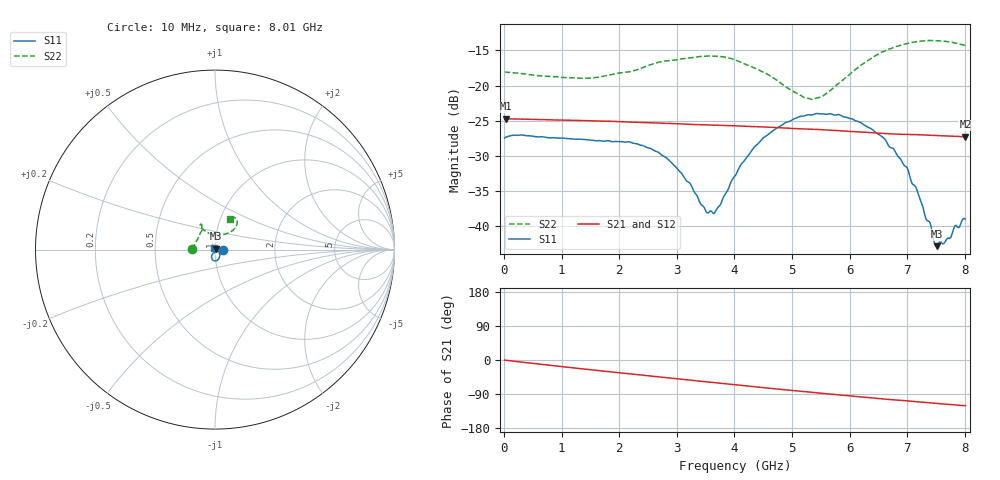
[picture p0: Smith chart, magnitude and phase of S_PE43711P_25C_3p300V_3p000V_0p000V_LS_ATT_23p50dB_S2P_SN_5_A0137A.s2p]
! Device ID: PE43711P
! File Path: z:\PE43711P\CHAR_NOM_04282014\AMB\3p300\LS_ATT_23p50dB\PE43711P_AMB_3p300V_3p000V_0p000V_LS_ATT_23p50dB_S2P_SN_5_A0137A.s2p
! Serial: 5
! Lot: A0137A
! Temp: 25C
! VDD: 3.300
! VSS: 0.000
! Control_Hi: 3.000
! Control_Lo: 0.000
! Attenuation Step: 23.50dB
! Port 1: RF1
! Port 2: RF2
! ThroughPath:1-2
! IDD: 0.0001278034
! ISS: -1.918e-007
#  Hz  S  RI  R  50
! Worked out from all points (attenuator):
!   801 points, 10 MHz to 8.01 GHz, reference 50 ohm
!   highest |S21| = -24.72 dB at 30 MHz (marker M1); lowest = -27.3 dB at 8.01 GHz (marker M2)
!   lowest |S11| = -42.8 dB at 7.51 GHz (marker M3), VSWR 1.01, Z = 50.6 + j0.45 ohm
!   |S11| at or under -10 dB: start of sweep to end of sweep
!   |S22| runs from -22.0 to -13.6 dB; largest |S21 - S12| = 0.00013
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1e7  0.0425 0.000304  0.0581 -0.000245  0.0582 -0.00024  -0.1254 0.000946
3e7  0.043 0.000348  0.0581 -0.000566  0.0581 -0.000567  -0.1248 0.00203
1.35e9  0.0403 -0.00998  0.0519 -0.0222  0.052 -0.0222  -0.0982 0.0554
2.18e9  0.0384 -0.0106  0.0441 -0.0331  0.0441 -0.033  -0.0767 0.0994
2.68e9  0.0326 -0.0081  0.0385 -0.038  0.0386 -0.038  -0.0729 0.1272
3.07e9  0.0229 -0.0073  0.0337 -0.0415  0.0338 -0.0415  -0.0737 0.1361
3.54e9  0.00626 -0.0108  0.0279 -0.0445  0.0279 -0.0445  -0.0791 0.1419
3.68e9  0.00103 -0.0129  0.0261 -0.0453  0.0261 -0.0453  -0.0809 0.1404
4.01e9  -0.00997 -0.0205  0.0217 -0.0471  0.0217 -0.0471  -0.0816 0.1287
4.32e9  -0.0174 -0.0309  0.0175 -0.0481  0.0175 -0.0481  -0.0704 0.1153
4.52e9  -0.0189 -0.0388  0.0147 -0.0486  0.0148 -0.0486  -0.0605 0.108
4.9e9  -0.0166 -0.0523  0.00964 -0.049  0.0096 -0.0489  -0.0351 0.0911
5.35e9  -0.00585 -0.0616  0.00392 -0.0488  0.00393 -0.0488  0.00724 0.0795
5.56e9  0.00185 -0.0628  0.00122 -0.0485  0.00124 -0.0485  0.0309 0.08
6.05e9  0.0188 -0.0548  -0.0047 -0.0469  -0.00478 -0.047  0.0813 0.0952
6.4e9  0.0259 -0.0411  -0.00848 -0.0455  -0.00848 -0.0456  0.1085 0.1161
6.68e9  0.0262 -0.0264  -0.011 -0.0442  -0.011 -0.0442  0.1199 0.1364
7e9  0.0227 -0.0126  -0.0138 -0.0428  -0.0138 -0.0428  0.1242 0.1561
7.18e9  0.0168 -0.00479  -0.0155 -0.042  -0.0155 -0.042  0.1216 0.1663
7.51e9  0.00569 0.00444  -0.0184 -0.0402  -0.0184 -0.0402  0.1086 0.1783
7.65e9  0.000402 0.00765  -0.0195 -0.0394  -0.0195 -0.0394  0.1017 0.1802
8.01e9  -0.00793 0.00797  -0.0221 -0.0373  -0.0222 -0.0373  0.0848 0.1729
